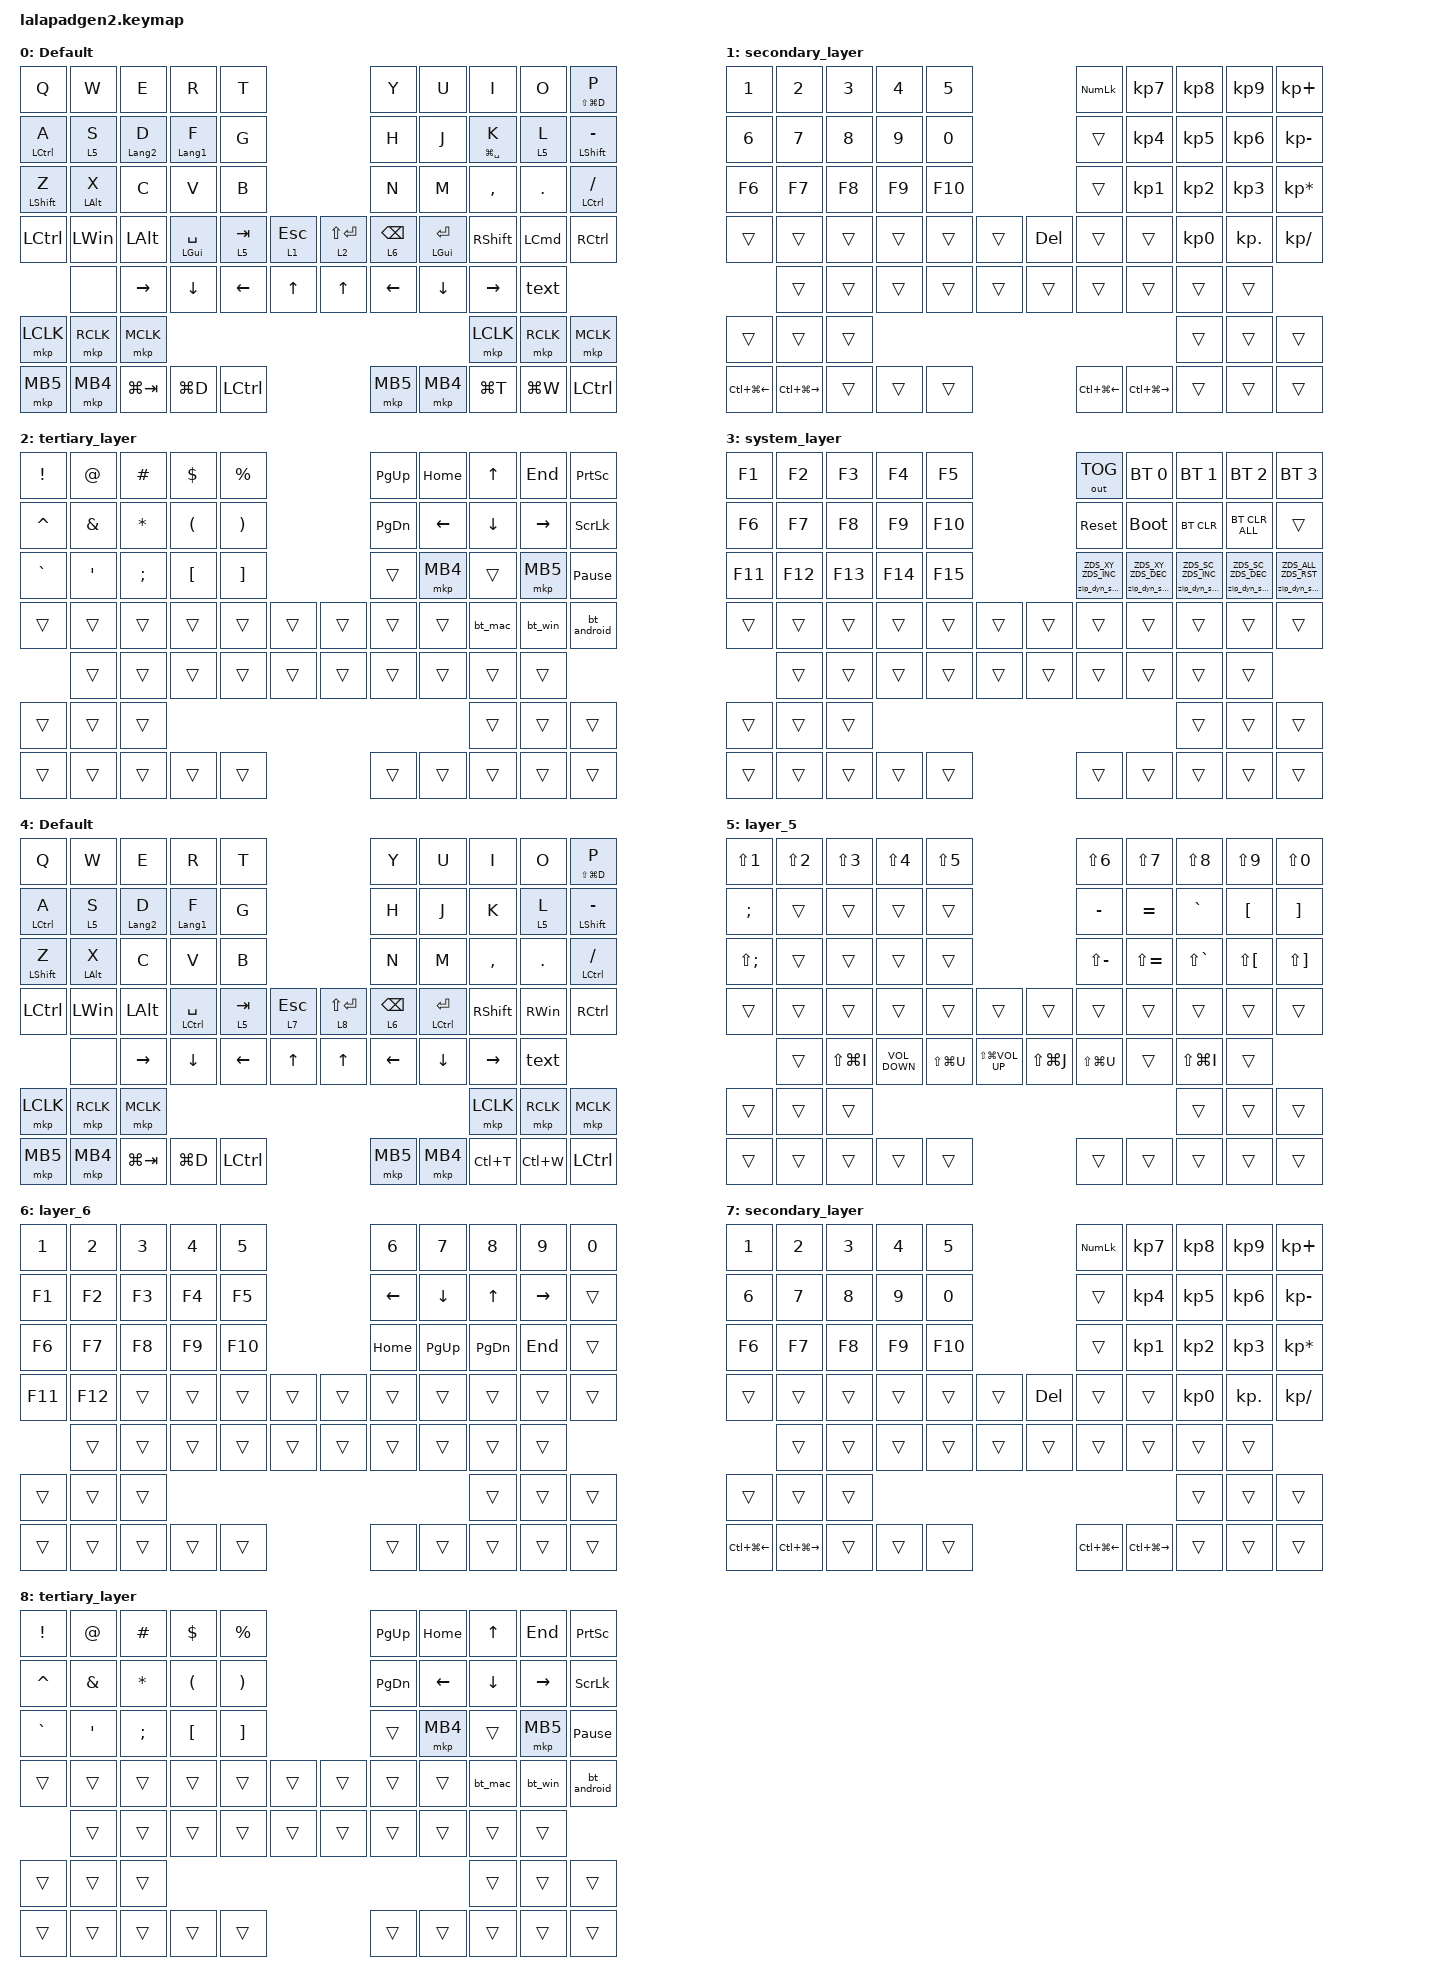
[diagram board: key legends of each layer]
#include <input/processors.dtsi>
#include <dt-bindings/zmk/zip_dynamic_scale.h>
#include <behaviors.dtsi>
#include <dt-bindings/zmk/bt.h>
#include <dt-bindings/zmk/keys.h>
#include <dt-bindings/zmk/outputs.h>
#include <dt-bindings/zmk/pointing.h>

#define DEFAULT_LAYER   0
#define SECONDARY_LAYER 1
#define TERTIARY_LAYER  2
#define SYSTEM_LAYER    3

&mt { quick-tap-ms = <200>; };

&lt { quick-tap-ms = <200>; };

/ {
    behaviors {
        zip_dyn_scale: zip_dyn_scale {
            compatible = "zmk,behavior-zip-dynamic-scale";
            #binding-cells = <2>;
        };

        zip_dyn_scale_set: zip_dyn_scale_set {
            compatible = "zmk,behavior-zip-dynamic-scale-set";
            #binding-cells = <2>;
        };

        mt2: mod_tap2 {
            compatible = "zmk,behavior-hold-tap";
            #binding-cells = <2>;
            flavor = "tap-preferred";
            tapping-term-ms = <200>;
            quick-tap-ms = <200>;
            require-prior-idle-ms = <125>;
            bindings = <&kp>, <&kp>;
        };

        tap_dance_layer_1and2: tap_dance_layer_1and2 {
            compatible = "zmk,behavior-tap-dance";
            label = "td_mo12";
            #binding-cells = <0>;
            bindings = <&mo 1>, <&mo 2>;
        };
    };

    combos {
        compatible = "zmk,combos";

        CONBO_ESC {
            bindings = <&kp ESCAPE>;
            key-positions = <0 1>;
        };

        COMBO_TAB {
            bindings = <&kp TAB>;
            key-positions = <10 11>;
        };
    };

    macros {
        bt_mac: bt_mac {
            compatible = "zmk,behavior-macro";
            #binding-cells = <0>;
            bindings = <&bt BT_SEL 1>, <&macro_wait_time 500>, <&to 0>;

            label = "BT_MAC";
        };

        bt_win: bt_win {
            compatible = "zmk,behavior-macro";
            #binding-cells = <0>;
            bindings = <&bt BT_SEL 2>, <&macro_wait_time 500>, <&to 4>;

            label = "BT_WIN";
        };

        bt_android: bt_android {
            compatible = "zmk,behavior-macro";
            #binding-cells = <0>;
            bindings = <&bt BT_SEL 3>, <&macro_wait_time 500>, <&to 4>;

            label = "BT_ANDROID";
        };

        text: text {
            compatible = "zmk,behavior-macro";
            #binding-cells = <0>;
            bindings = <&kp LANGUAGE_2 &kp LS(X) &kp STAR &kp UNDER &kp POUND &kp G &kp QMARK &kp LS(E) &kp LS(X) &kp LS(Y) &kp Z &kp STAR &kp N8 &kp LS(J) &kp D &kp P &kp ENTER>;
            label = "TEXT";
        };
    };

    keymap {
        compatible = "zmk,keymap";

        DEFAULT_LAYER {
            display-name = "Default";
            bindings = <
&kp Q              &kp W            &kp E              &kp R                &kp T                                     &kp Y            &kp U                &kp I             &kp O       &mt2 LS(LG(D)) P
&mt2 LCTRL A       &lt 5 S          &mt2 LANGUAGE_2 D  &mt2 LANGUAGE_1 F    &kp G                                     &kp H            &kp J                &mt2 LG(SPACE) K  &lt 5 L     &mt2 LEFT_SHIFT MINUS
&mt2 LEFT_SHIFT Z  &mt2 LEFT_ALT X  &kp C              &kp V                &kp B                                     &kp N            &kp M                &kp COMMA         &kp PERIOD  &mt2 LCTRL SLASH
&kp LCTRL          &kp LWIN         &kp LEFT_ALT       &mt2 LEFT_GUI SPACE  &lt 5 TAB  &lt 1 ESCAPE  &lt 2 LS(ENTER)  &lt 6 BACKSPACE  &mt2 LEFT_GUI ENTER  &kp RIGHT_SHIFT   &kp LCMD    &kp RCTRL
                   &none            &kp RIGHT          &kp DOWN_ARROW       &kp LEFT   &kp UP_ARROW  &kp UP           &kp LEFT         &kp DOWN             &kp RIGHT         &text
&mkp LCLK          &mkp RCLK        &mkp MCLK                                                                                                               &mkp LCLK         &mkp RCLK   &mkp MCLK
&mkp MB5           &mkp MB4         &kp LG(TAB)        &kp LG(D)            &kp LCTRL                                 &mkp MB5         &mkp MB4             &kp LG(T)         &kp LG(W)   &kp LCTRL
            >;
        };

        SECONDARY_LAYER {
            display-name = "secondary_layer";
            bindings = <
&kp NUMBER_1      &kp NUMBER_2       &kp NUMBER_3  &kp NUMBER_4  &kp N5                    &kp KP_NUMLOCK    &kp KP_NUMBER_7    &kp KP_NUMBER_8  &kp KP_NUMBER_9  &kp KP_PLUS
&kp NUMBER_6      &kp N7             &kp N8        &kp N9        &kp N0                    &trans            &kp KP_NUMBER_4    &kp KP_NUMBER_5  &kp KP_NUMBER_6  &kp KP_MINUS
&kp F6            &kp F7             &kp F8        &kp F9        &kp F10                   &trans            &kp KP_NUMBER_1    &kp KP_NUMBER_2  &kp KP_NUMBER_3  &kp KP_ASTERISK
&trans            &trans             &trans        &trans        &trans   &trans  &kp DEL  &trans            &trans             &kp KP_NUMBER_0  &kp KP_DOT       &kp KP_DIVIDE
                  &trans             &trans        &trans        &trans   &trans  &trans   &trans            &trans             &trans           &trans
&trans            &trans             &trans                                                                                     &trans           &trans           &trans
&kp LC(LG(LEFT))  &kp LC(LG(RIGHT))  &trans        &trans        &trans                    &kp LC(LG(LEFT))  &kp LC(LG(RIGHT))  &trans           &trans           &trans
            >;
        };

        TERTIARY_LAYER {
            display-name = "tertiary_layer";
            bindings = <
&kp EXCLAMATION  &kp AT_SIGN    &kp HASH      &kp DOLLAR            &kp PERCENT                            &kp PAGE_UP    &kp HOME  &kp UP_ARROW    &kp END    &kp PRINTSCREEN
&kp CARET        &kp AMPERSAND  &kp ASTERISK  &kp LEFT_PARENTHESIS  &kp RIGHT_PARENTHESIS                  &kp PAGE_DOWN  &kp LEFT  &kp DOWN_ARROW  &kp RIGHT  &kp SCROLLLOCK
&kp GRAVE        &kp SQT        &kp SEMI      &kp LEFT_BRACKET      &kp RIGHT_BRACKET                      &trans         &mkp MB4  &trans          &mkp MB5   &kp PAUSE_BREAK
&trans           &trans         &trans        &trans                &trans                 &trans  &trans  &trans         &trans    &bt_mac         &bt_win    &bt_android
                 &trans         &trans        &trans                &trans                 &trans  &trans  &trans         &trans    &trans          &trans
&trans           &trans         &trans                                                                                              &trans          &trans     &trans
&trans           &trans         &trans        &trans                &trans                                 &trans         &trans    &trans          &trans     &trans
            >;
        };

        SYSTEM_LAYER {
            display-name = "system_layer";
            bindings = <
&kp F1   &kp F2   &kp F3   &kp F4   &kp F5                   &out OUT_TOG                   &bt BT_SEL 0                   &bt BT_SEL 1                   &bt BT_SEL 2                   &bt BT_SEL 3
&kp F6   &kp F7   &kp F8   &kp F9   &kp F10                  &sys_reset                     &bootloader                    &bt BT_CLR                     &bt BT_CLR_ALL                 &trans
&kp F11  &kp F12  &kp F13  &kp F14  &kp F15                  &zip_dyn_scale ZDS_XY ZDS_INC  &zip_dyn_scale ZDS_XY ZDS_DEC  &zip_dyn_scale ZDS_SC ZDS_INC  &zip_dyn_scale ZDS_SC ZDS_DEC  &zip_dyn_scale ZDS_ALL ZDS_RST
&trans   &trans   &trans   &trans   &trans   &trans  &trans  &trans                         &trans                         &trans                         &trans                         &trans
         &trans   &trans   &trans   &trans   &trans  &trans  &trans                         &trans                         &trans                         &trans
&trans   &trans   &trans                                                                                                   &trans                         &trans                         &trans
&trans   &trans   &trans   &trans   &trans                   &trans                         &trans                         &trans                         &trans                         &trans
            >;
        };

        winlayer {
            display-name = "Default";
            bindings = <
&kp Q              &kp W            &kp E              &kp R              &kp T                                     &kp Y            &kp U             &kp I            &kp O          &mt2 LS(LG(D)) P
&mt2 LCTRL A       &lt 5 S          &mt2 LANGUAGE_2 D  &mt2 LANGUAGE_1 F  &kp G                                     &kp H            &kp J             &kp K            &lt 5 L        &mt2 LEFT_SHIFT MINUS
&mt2 LEFT_SHIFT Z  &mt2 LEFT_ALT X  &kp C              &kp V              &kp B                                     &kp N            &kp M             &kp COMMA        &kp PERIOD     &mt2 LCTRL SLASH
&kp LCTRL          &kp LWIN         &kp LEFT_ALT       &mt2 LCTRL SPACE   &lt 5 TAB  &lt 7 ESCAPE  &lt 8 LS(ENTER)  &lt 6 BACKSPACE  &mt2 LCTRL ENTER  &kp RIGHT_SHIFT  &kp RIGHT_WIN  &kp RCTRL
                   &none            &kp RIGHT          &kp DOWN_ARROW     &kp LEFT   &kp UP_ARROW  &kp UP           &kp LEFT         &kp DOWN          &kp RIGHT        &text
&mkp LCLK          &mkp RCLK        &mkp MCLK                                                                                                          &mkp LCLK        &mkp RCLK      &mkp MCLK
&mkp MB5           &mkp MB4         &kp LG(TAB)        &kp LG(D)          &kp LCTRL                                 &mkp MB5         &mkp MB4          &kp LC(T)        &kp LC(W)      &kp LCTRL
            >;
        };

        layer_5 {
            bindings = <
&kp LS(N1)    &kp LS(N2)  &kp LS(N3)     &kp LS(N4)         &kp LS(N5)                                             &kp LS(N6)     &kp LS(N7)     &kp LS(N8)     &kp LS(N9)    &kp LS(N0)
&kp SEMI      &trans      &trans         &trans             &trans                                                 &kp MINUS      &kp EQUAL      &kp GRAVE      &kp LBKT      &kp RBKT
&kp LS(SEMI)  &trans      &trans         &trans             &trans                                                 &kp LS(MINUS)  &kp LS(EQUAL)  &kp LS(GRAVE)  &kp LS(LBKT)  &kp LS(RBKT)
&trans        &trans      &trans         &trans             &trans         &trans                   &trans         &trans         &trans         &trans         &trans        &trans
              &trans      &kp LS(LG(I))  &kp C_VOLUME_DOWN  &kp LS(LG(U))  &kp LS(LG(C_VOLUME_UP))  &kp LS(LG(J))  &kp LS(LG(U))  &trans         &kp LS(LG(I))  &trans
&trans        &trans      &trans                                                                                                                 &trans         &trans        &trans
&trans        &trans      &trans         &trans             &trans                                                 &trans         &trans         &trans         &trans        &trans
            >;
        };

        layer_6 {
            bindings = <
&kp N1   &kp N2   &kp N3  &kp N4  &kp N5                   &kp N6          &kp N7          &kp N8         &kp N9           &kp N0
&kp F1   &kp F2   &kp F3  &kp F4  &kp F5                   &kp LEFT_ARROW  &kp DOWN_ARROW  &kp UP_ARROW   &kp RIGHT_ARROW  &trans
&kp F6   &kp F7   &kp F8  &kp F9  &kp F10                  &kp HOME        &kp PG_UP       &kp PAGE_DOWN  &kp END          &trans
&kp F11  &kp F12  &trans  &trans  &trans   &trans  &trans  &trans          &trans          &trans         &trans           &trans
         &trans   &trans  &trans  &trans   &trans  &trans  &trans          &trans          &trans         &trans
&trans   &trans   &trans                                                                   &trans         &trans           &trans
&trans   &trans   &trans  &trans  &trans                   &trans          &trans          &trans         &trans           &trans
            >;
        };

        layer_7 {
            display-name = "secondary_layer";
            bindings = <
&kp NUMBER_1      &kp NUMBER_2       &kp NUMBER_3  &kp NUMBER_4  &kp N5                    &kp KP_NUMLOCK    &kp KP_NUMBER_7    &kp KP_NUMBER_8  &kp KP_NUMBER_9  &kp KP_PLUS
&kp NUMBER_6      &kp N7             &kp N8        &kp N9        &kp N0                    &trans            &kp KP_NUMBER_4    &kp KP_NUMBER_5  &kp KP_NUMBER_6  &kp KP_MINUS
&kp F6            &kp F7             &kp F8        &kp F9        &kp F10                   &trans            &kp KP_NUMBER_1    &kp KP_NUMBER_2  &kp KP_NUMBER_3  &kp KP_ASTERISK
&trans            &trans             &trans        &trans        &trans   &trans  &kp DEL  &trans            &trans             &kp KP_NUMBER_0  &kp KP_DOT       &kp KP_DIVIDE
                  &trans             &trans        &trans        &trans   &trans  &trans   &trans            &trans             &trans           &trans
&trans            &trans             &trans                                                                                     &trans           &trans           &trans
&kp LC(LG(LEFT))  &kp LC(LG(RIGHT))  &trans        &trans        &trans                    &kp LC(LG(LEFT))  &kp LC(LG(RIGHT))  &trans           &trans           &trans
            >;
        };

        layer_8 {
            display-name = "tertiary_layer";
            bindings = <
&kp EXCLAMATION  &kp AT_SIGN    &kp HASH      &kp DOLLAR            &kp PERCENT                            &kp PAGE_UP    &kp HOME  &kp UP_ARROW    &kp END    &kp PRINTSCREEN
&kp CARET        &kp AMPERSAND  &kp ASTERISK  &kp LEFT_PARENTHESIS  &kp RIGHT_PARENTHESIS                  &kp PAGE_DOWN  &kp LEFT  &kp DOWN_ARROW  &kp RIGHT  &kp SCROLLLOCK
&kp GRAVE        &kp SQT        &kp SEMI      &kp LEFT_BRACKET      &kp RIGHT_BRACKET                      &trans         &mkp MB4  &trans          &mkp MB5   &kp PAUSE_BREAK
&trans           &trans         &trans        &trans                &trans                 &trans  &trans  &trans         &trans    &bt_mac         &bt_win    &bt_android
                 &trans         &trans        &trans                &trans                 &trans  &trans  &trans         &trans    &trans          &trans
&trans           &trans         &trans                                                                                              &trans          &trans     &trans
&trans           &trans         &trans        &trans                &trans                                 &trans         &trans    &trans          &trans     &trans
            >;
        };
    };

    conditional_layers {
        compatible = "zmk,conditional-layers";

        Cond_Syslayer {
            if-layers = <1 2>;
            then-layer = <3>;
        };
    };
};
